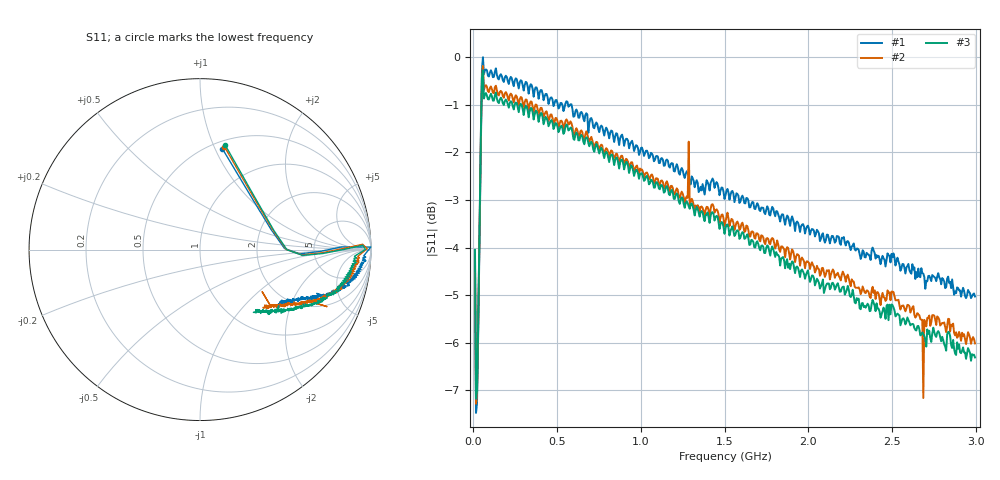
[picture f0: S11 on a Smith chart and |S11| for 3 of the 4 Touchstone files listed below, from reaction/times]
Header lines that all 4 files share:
# HZ S RI R 50
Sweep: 10 MHz to 2.994 GHz
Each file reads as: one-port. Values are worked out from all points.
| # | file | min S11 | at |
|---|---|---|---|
| 1 | 21-45.s1p | -7.5 dB | 15.93 MHz |
| 2 | 21-47.s1p | -7.3 dB | 15.93 MHz |
| 3 | 22-06.s1p | -7.2 dB | 15.93 MHz |
| 4 | 22-08.s1p | -7.2 dB | 15.93 MHz |
